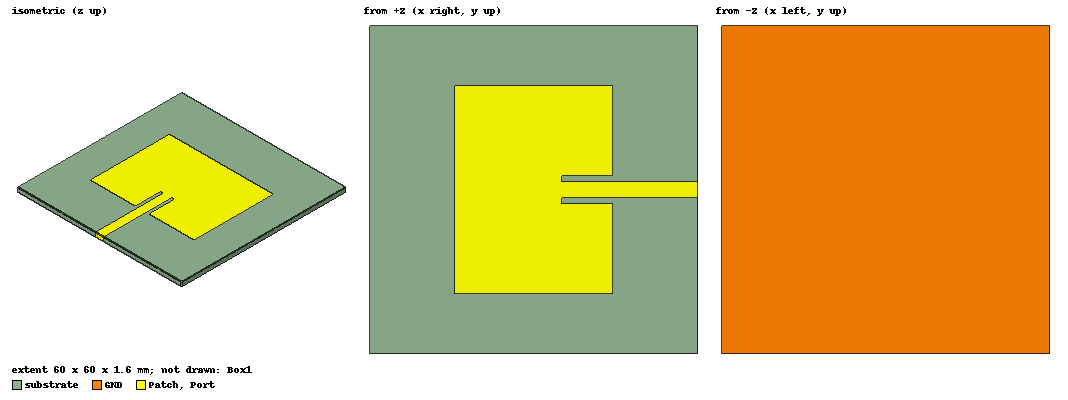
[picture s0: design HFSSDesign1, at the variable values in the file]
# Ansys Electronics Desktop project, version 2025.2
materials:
  vacuum: permittivity=1
  FR4_epoxy: permittivity=4.4 dielectric_loss_tangent=0.02

design HFSSDesign1 (HFSS, HFSS Terminal Network, model units mm)
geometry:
  GND = rectangle(corner=(-30mm, -30mm, 0mm), x_size=60mm, y_size=60mm)
  substrate [FR4_epoxy] = box(corner=(-30mm, -30mm, 0mm), size=(60mm, 60mm, 1.6mm))
  Patch = rectangle(corner=((-29/2) mm, (-38/2) mm, 1.6mm), x_size=29mm, y_size=38mm)
  Feed = rectangle(corner=(0mm, -1.5mm, 1.6mm), x_size=30mm, y_size=3mm)
  Cut = rectangle(corner=(14.7mm, -2.5mm, 1.6mm), x_size=-9.5mm, y_size=5mm)
  Patch.subtract(Cut)
  Patch.unite(Feed)
  Port = rectangle(corner=(30mm, -1.5mm, 1.6mm), y_size=3mm, z_size=-1.6mm)
  Box1 [vacuum] = box(corner=(-40mm, -40mm, -20mm), size=(80mm, 80mm, 40mm))
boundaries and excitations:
  PerfE1: Perfect E Objects=[Patch, GND]
  Rad1: Radiation Objects=Box1
  1: Lumped Port Objects=Port LumpedPortType=Modal Modes{Mode1{IntLine{(30, 0, 0.8) -> (30, 0, 0)} CharImp=Zpi}} Impedance=50ohm
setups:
  Setup1: HfssDriven Frequency=2.4GHz MaxDeltaS=0.02 MaximumPasses=10 MinimumPasses=1 MinimumConvergedPasses=1 PercentRefinement=30 BasisOrder=1 PortAccuracy=2 DrivenSolverType="Direct Solver"
    sweep Sweep: 1GHz to 3GHz, 401 points; Type=Interpolating SaveFields InterpTolerance=0.5 InterpMaxSolns=250 PassivityErrorTolerance=0.0001
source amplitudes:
  1:1: 1V 0deg
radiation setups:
  Infinite Sphere1: Infinite Sphere Theta=0deg..180deg step 2deg Phi=-180deg..180deg step 2deg
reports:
  Gain Plot1: dB(GainTotal) vs Phi, Theta on Setup1 : LastAdaptive, Infinite Sphere1 [Freq=2.4GHz]
  Directivity Plot1: dB(DirTotal) vs Phi, Theta on Setup1 : LastAdaptive, Infinite Sphere1 [Freq=2.4GHz]
  Terminal S Parameter Plot1: dB(St(1,1)) vs Freq on Setup1 : Sweep
